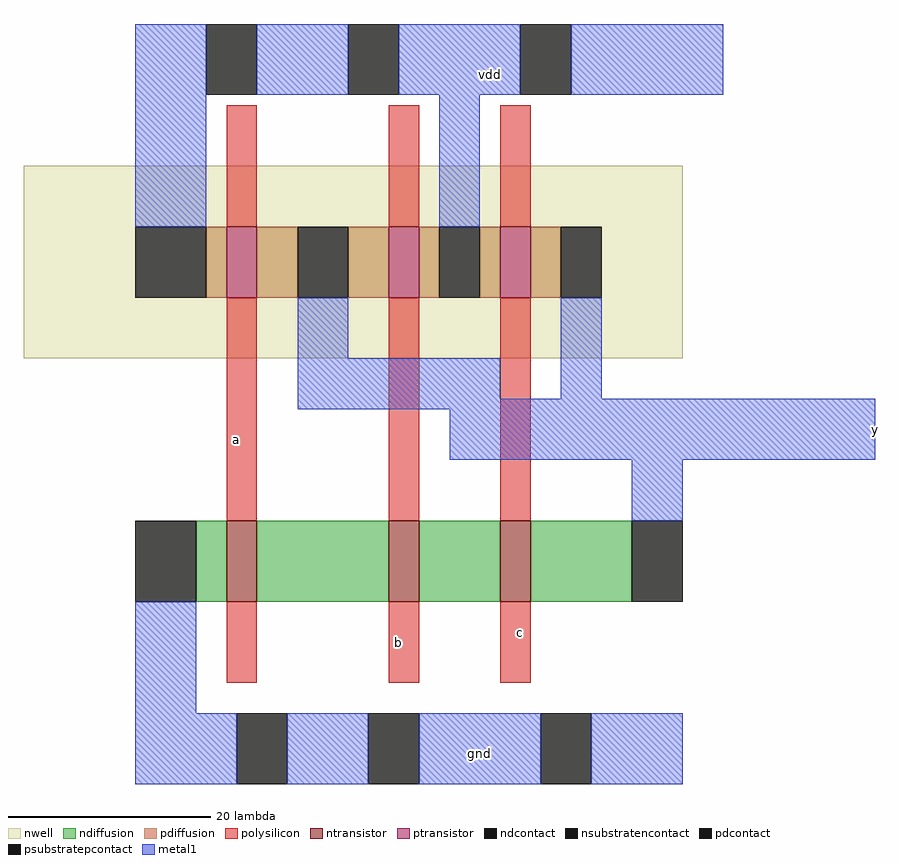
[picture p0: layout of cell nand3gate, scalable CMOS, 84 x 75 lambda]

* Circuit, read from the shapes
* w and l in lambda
.subckt nand3gate a b c gnd vdd y
M1 n1 a gnd gnd nfet w=8 l=3
M2 n2 b n1 gnd nfet w=8 l=3
M3 y c n2 gnd nfet w=8 l=3
M4 y a vdd n3 pfet w=7 l=3
M5 vdd b y n3 pfet w=7 l=3
M6 y c vdd n3 pfet w=7 l=3
.ends

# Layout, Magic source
magic
tech scmos
<< nwell >>
rect -22 13 43 32
<< ntransistor >>
rect -2 -11 1 -3
rect 14 -11 17 -3
rect 25 -11 28 -3
<< ptransistor >>
rect -2 19 1 26
rect 14 19 17 26
rect 25 19 28 26
<< ndiffusion >>
rect -5 -11 -2 -3
rect 1 -11 14 -3
rect 17 -11 25 -3
rect 28 -11 38 -3
<< pdiffusion >>
rect -4 19 -2 26
rect 1 19 5 26
rect 10 19 14 26
rect 17 19 19 26
rect 23 19 25 26
rect 28 19 31 26
<< ndcontact >>
rect -11 -11 -5 -3
rect 38 -11 43 -3
<< pdcontact >>
rect -11 19 -4 26
rect 5 19 10 26
rect 19 19 23 26
rect 31 19 35 26
<< psubstratepcontact >>
rect -1 -29 4 -22
rect 12 -29 17 -22
rect 29 -29 34 -22
<< nsubstratencontact >>
rect -4 39 1 46
rect 10 39 15 46
rect 27 39 32 46
<< polysilicon >>
rect -2 26 1 38
rect 14 26 17 38
rect 25 26 28 38
rect -2 -3 1 19
rect 14 -3 17 19
rect 25 -3 28 19
rect -2 -19 1 -11
rect 14 -19 17 -11
rect 25 -19 28 -11
<< metal1 >>
rect -11 26 -4 46
rect 1 39 10 46
rect 15 39 27 46
rect 32 39 47 46
rect 19 26 23 39
rect 5 13 10 19
rect 5 9 25 13
rect 31 9 35 19
rect 5 8 62 9
rect 20 3 62 8
rect 38 -3 43 3
rect -11 -22 -5 -11
rect -11 -29 -1 -22
rect 4 -29 12 -22
rect 17 -29 29 -22
rect 34 -29 43 -22
<< labels >>
rlabel metal1 24 41 24 41 5 vdd
rlabel metal1 23 -26 23 -26 1 gnd
rlabel polysilicon -1 5 -1 5 1 a
rlabel polysilicon 15 -15 15 -15 1 b
rlabel polysilicon 27 -14 27 -14 1 c
rlabel metal1 62 3 62 9 7 y
<< end >>
